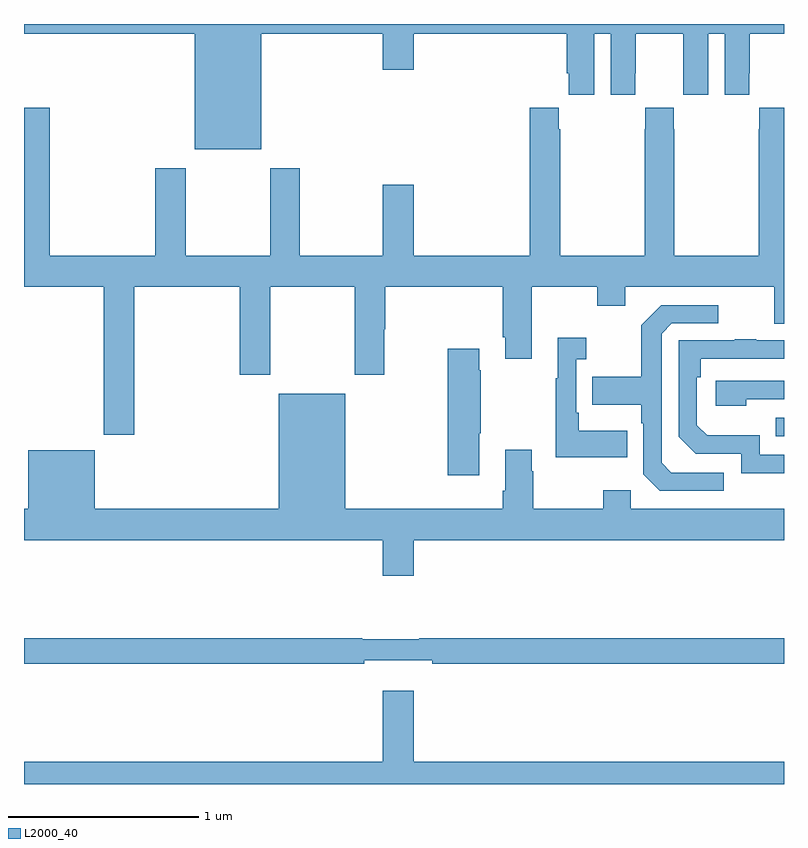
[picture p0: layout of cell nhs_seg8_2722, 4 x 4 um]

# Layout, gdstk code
import gdstk
lib = gdstk.Library(unit=1e-6, precision=1e-09)
def R(c, l, rs):  # rectangles x0, y0, x1, y1
    for r in rs: c.add(gdstk.rectangle(r[:2], r[2:], *l))
def P(c, l, *ps):  # polygons
    for p in ps: c.add(gdstk.Polygon(p, *l))
L2000_40 = (2000, 40)

nhs_seg8_2722 = lib.new_cell('nhs_seg8_2722')
R(nhs_seg8_2722, L2000_40, [(286.957,1099.731,287,1099.827)])
P(nhs_seg8_2722, L2000_40, [(284.248,1101.848),(284.888,1101.848),(284.888,1101.66),(285.052,1101.66),(285.052,1101.848),(285.857,1101.848),(285.857,1101.64),(285.866,1101.64),(285.866,1101.528),(286,1101.528),(286,1101.848),(286.088,1101.848),(286.088,1101.528),(286.218,1101.528),(286.218,1101.64),(286.219,1101.64),(286.219,1101.848),(286.469,1101.848),(286.469,1101.64),(286.47,1101.64),(286.47,1101.528),(286.6,1101.528),(286.6,1101.848),(286.688,1101.848),(286.688,1101.528),(286.818,1101.528),(286.818,1101.64),(286.819,1101.64),(286.819,1101.848),(287,1101.848),(287,1101.9),(283,1101.9),(283,1101.848),(283.898,1101.848),(283.898,1101.242),(284.248,1101.242)],
  [(285.662,1100.68),(285.052,1100.68),(285.052,1101.055),(284.888,1101.055),(284.888,1100.68),(284.451,1100.68),(284.451,1101.142),(284.296,1101.142),(284.296,1100.68),(283.851,1100.68),(283.851,1101.142),(283.691,1101.142),(283.691,1100.68),(283.136,1100.68),(283.136,1101.46),(283,1101.46),(283,1100.516),(283.42,1100.516),(283.42,1099.737),(283.58,1099.737),(283.58,1100.516),(284.135,1100.516),(284.135,1100.055),(284.295,1100.055),(284.295,1100.516),(284.74,1100.516),(284.74,1100.055),(284.895,1100.055),(284.895,1100.294),(284.9,1100.294),(284.9,1100.516),(285.521,1100.516),(285.521,1100.251),(285.533,1100.251),(285.533,1100.139),(285.673,1100.139),(285.673,1100.516),(286.018,1100.516),(286.018,1100.417),(286.165,1100.417),(286.165,1100.516),(286.949,1100.516),(286.949,1100.322),(287,1100.322),(287,1101.46),(286.869,1101.46),(286.869,1101.347),(286.867,1101.347),(286.867,1100.68),(286.422,1100.68),(286.422,1101.347),(286.419,1101.347),(286.419,1101.46),(286.269,1101.46),(286.269,1101.347),(286.267,1101.347),(286.267,1100.68),(285.822,1100.68),(285.822,1101.347),(285.815,1101.347),(285.815,1101.46),(285.662,1101.46)],
  [(286.684,1099.539),(286.407,1099.539),(286.356,1099.59),(286.356,1100.271),(286.41,1100.325),(286.654,1100.325),(286.654,1100.421),(286.353,1100.421),(286.248,1100.315),(286.248,1100.043),(285.991,1100.043),(285.991,1099.895),(286.248,1099.895),(286.248,1099.799),(286.26,1099.799),(286.26,1099.53),(286.347,1099.443),(286.684,1099.443)],
  [(286.175,1099.759),(285.919,1099.759),(285.919,1099.855),(285.906,1099.855),(285.906,1100.135),(285.958,1100.135),(285.958,1100.248),(285.809,1100.248),(285.809,1100.035),(285.798,1100.035),(285.798,1099.619),(286.175,1099.619)],
  [(287,1099.632),(286.872,1099.632),(286.872,1099.735),(286.595,1099.735),(286.542,1099.788),(286.542,1100.042),(286.562,1100.042),(286.562,1100.139),(287,1100.139),(287,1100.235),(286.853,1100.235),(286.853,1100.24),(286.741,1100.24),(286.741,1100.235),(286.446,1100.235),(286.446,1099.728),(286.536,1099.638),(286.776,1099.638),(286.776,1099.536),(287,1099.536)],
  [(285.397,1099.747),(285.405,1099.747),(285.405,1100.078),(285.397,1100.078),(285.397,1100.191),(285.23,1100.191),(285.23,1099.524),(285.397,1099.524)],
  [(286.802,1099.926),(287,1099.926),(287,1100.022),(286.641,1100.022),(286.641,1099.892),(286.802,1099.892)],
  [(285.052,1099.184),(287,1099.184),(287,1099.348),(286.194,1099.348),(286.194,1099.447),(286.048,1099.447),(286.048,1099.348),(285.681,1099.348),(285.681,1099.547),(285.673,1099.547),(285.673,1099.66),(285.533,1099.66),(285.533,1099.444),(285.521,1099.444),(285.521,1099.348),(284.692,1099.348),(284.692,1099.954),(284.342,1099.954),(284.342,1099.348),(283.372,1099.348),(283.372,1099.657),(283.022,1099.657),(283.022,1099.348),(283,1099.348),(283,1099.184),(284.888,1099.184),(284.888,1098.996),(285.052,1098.996)],
  [(284.792,1098.551),(285.148,1098.551),(285.148,1098.532),(287,1098.532),(287,1098.668),(285.08,1098.668),(285.08,1098.661),(284.78,1098.661),(284.78,1098.668),(283,1098.668),(283,1098.532),(284.792,1098.532)],
  [(285.052,1098.391),(284.888,1098.391),(284.888,1098.016),(283,1098.016),(283,1097.9),(287,1097.9),(287,1098.016),(285.052,1098.016)])

lib.write_gds('nhs_seg8_2722.gds')
